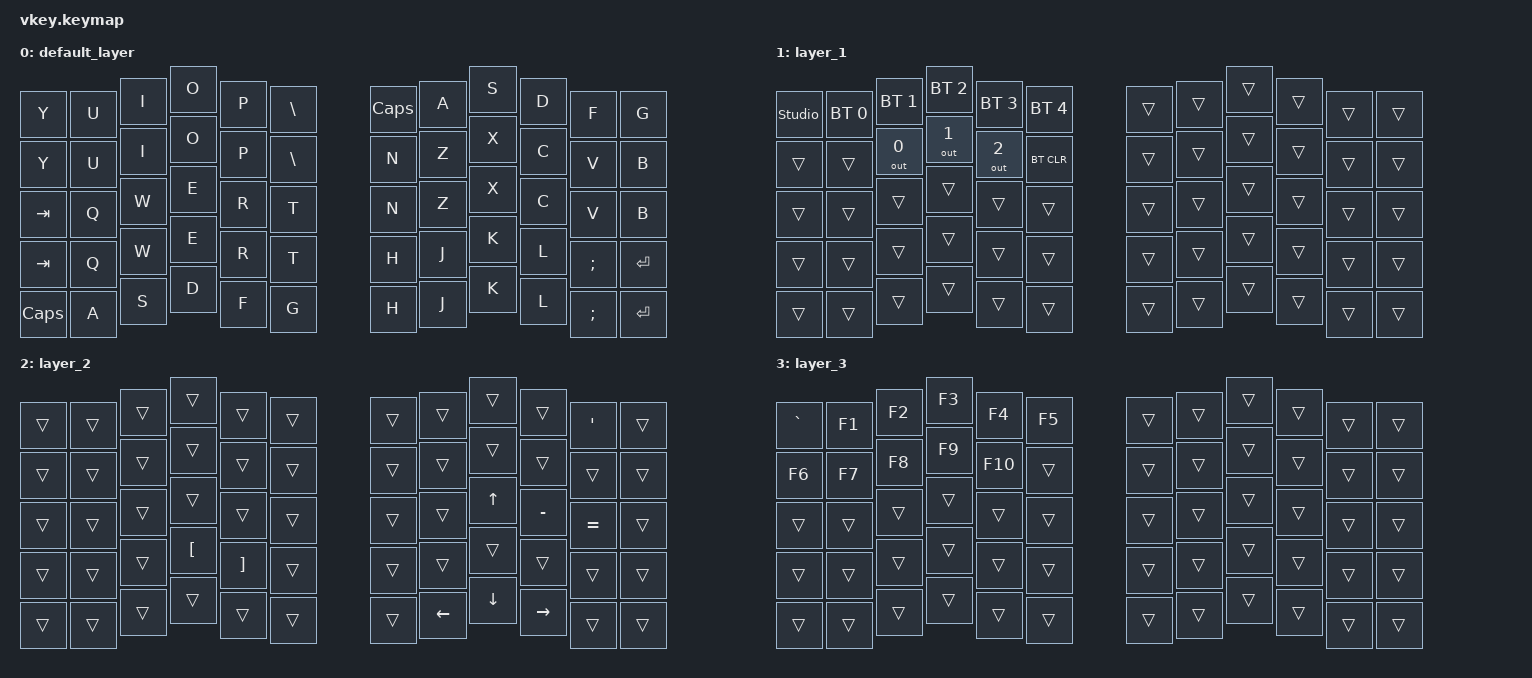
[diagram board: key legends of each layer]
#include <behaviors.dtsi>
#include <dt-bindings/zmk/keys.h>
#include <dt-bindings/zmk/bt.h>

/ {
        keymap {
                compatible = "zmk,keymap";

                default_layer {
                        bindings = <
&kp Y		&kp U		&kp I		&kp O		&kp P		&kp BSLH		&kp Y		&kp U		&kp I		&kp O		&kp P		&kp BSLH
&kp TAB		&kp Q		&kp W		&kp E		&kp R		&kp T			&kp TAB		&kp Q		&kp W		&kp E		&kp R		&kp T
&kp CAPS	&kp A		&kp S		&kp D		&kp F		&kp G			&kp CAPS	&kp A		&kp S		&kp D		&kp F		&kp G
&kp N		&kp Z		&kp X		&kp C		&kp V		&kp B			&kp N		&kp Z		&kp X		&kp C		&kp V		&kp B
&kp H		&kp J		&kp K		&kp L		&kp SEMI	&kp RET			&kp H		&kp J		&kp K		&kp L		&kp SEMI	&kp RET

                        >;
                };
                layer_1 {
                        bindings = <
   &studio_unlock  &bt BT_SEL 0 &bt BT_SEL 1 &bt BT_SEL 2 &bt BT_SEL 3 &bt BT_SEL 4   &trans   &trans   &out 0  &out 1    &out 2   &bt BT_CLR
   &trans     &trans       &trans       &trans       &trans       &trans              &trans   &trans   &trans  &trans    &trans   &trans
   &trans     &trans       &trans       &trans       &trans       &trans              &trans   &trans   &trans  &trans    &trans   &trans
   &trans     &trans       &trans       &trans       &trans       &trans              &trans   &trans   &trans  &trans    &trans   &trans
   &trans     &trans       &trans       &trans       &trans       &trans              &trans   &trans   &trans  &trans    &trans   &trans
                        >;
                };

                layer_2 {
                        bindings = <
   &trans    &trans   &trans &trans   &trans   &trans      &trans    &trans    &trans    &trans     &trans    &trans
   &trans    &trans   &trans &trans   &trans   &trans      &trans    &trans    &trans    &kp LBKT   &kp RBKT  &trans
   &trans    &trans   &trans &trans   &trans   &trans      &trans    &trans    &trans    &trans     &kp SQT   &trans
   &trans    &trans   &trans &trans   &trans   &trans      &trans    &trans    &kp UP    &kp MINUS  &kp EQUAL &trans
   &trans    &trans   &trans &trans   &trans   &trans      &trans    &kp LEFT  &kp DOWN  &kp RIGHT    &trans    &trans
                        >;
                };
                layer_3 {
                        bindings = <
   &kp GRAVE  &kp F1       &kp F2       &kp F3       &kp F4       &kp F5         &kp F6   &kp F7   &kp F8  &kp F9    &kp F10  &trans
   &trans     &trans       &trans       &trans       &trans       &trans         &trans   &trans   &trans  &trans    &trans   &trans
   &trans     &trans       &trans       &trans       &trans       &trans         &trans   &trans   &trans  &trans    &trans   &trans
   &trans     &trans       &trans       &trans       &trans       &trans         &trans   &trans   &trans  &trans    &trans   &trans
   &trans     &trans       &trans       &trans       &trans       &trans         &trans   &trans   &trans  &trans    &trans   &trans
                        >;
                };
        };
};
